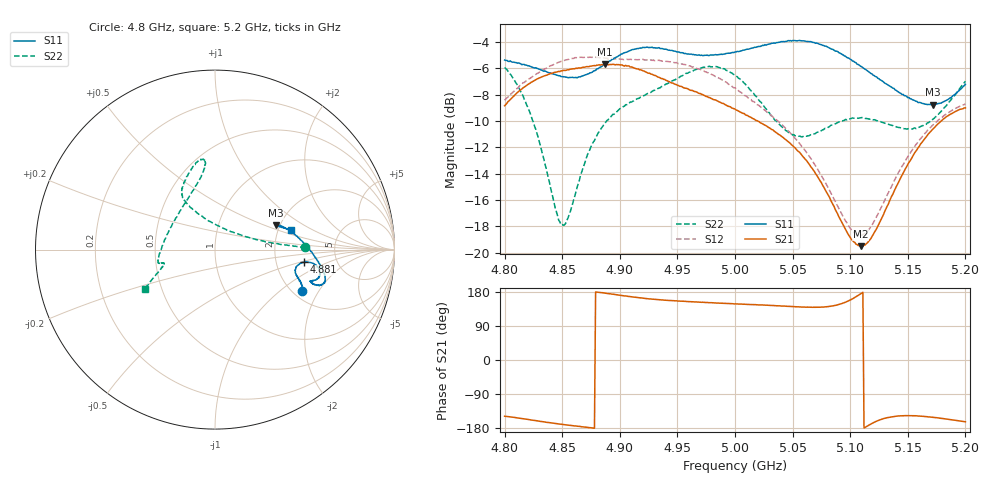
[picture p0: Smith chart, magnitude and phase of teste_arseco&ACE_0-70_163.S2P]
! Network Analyzer HP8722D
! Hewlett-Packard
! Data name: Linha & Wilkinson
! Saver's name: Rodrigo Anjos
! Comments: Teste da utilização de aquisição
! continua pelo VNA HP8722D
! Time and date: 8/5/2025 14:07
!  Frequency  S11  S21  S12  S22
# HZ  S  MA R 50
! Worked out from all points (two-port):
!   401 points, 4.8 GHz to 5.2 GHz, reference 50 ohm
!   highest |S21| = -5.71 dB at 4.887 GHz (marker M1); lowest = -19.5 dB at 5.109 GHz (marker M2)
!   |S21| within 3 dB of the highest: 4.802 GHz to 4.99 GHz (188.8 MHz wide, 3.86 % of centre)
!   lowest |S11| = -8.8 dB at 5.172 GHz (marker M3), VSWR 2.15, Z = 95 + j29.8 ohm
!   |S11| at or under -10 dB: nowhere
!   |S22| runs from -17.9 to -5.9 dB; largest |S21 - S12| = 1.1
!   S11 on the Smith chart (normalised r, x): 4.8 GHz: 2.23, -1.46; 4.881 GHz: 2.88, -0.53; 5.2 GHz: 2.33, +0.64
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4.8e9  0.5379 -25.5  0.3608 -148.4  0.3787 11.0  0.5041 1.3
4.812e9  0.5247 -22.4  0.408 -153.2  0.4238 9.3  0.4244 2.8
4.823e9  0.5077 -20.7  0.4429 -158.3  0.4615 7.7  0.3302 6.1
4.849e9  0.4657 -16.1  0.4895 -169.5  0.5316 3.4  0.1275 58.1
4.855e9  0.4609 -14.3  0.4942 -171.9  0.5407 2.5  0.1355 84.7
4.867e9  0.4679 -11.0  0.5032 -176.2  0.5511 0.9  0.2027 112.8
4.881e9  0.4985 -8.0  0.5144 178.9  0.5511 -0.3  0.2836 120.6
4.887e9  0.5198 -7.7  0.5185 176.5  0.5469 -0.4  0.3089 121.4
4.911e9  0.5895 -10.5  0.5049 166.6  0.5406 0.1  0.3748 119.7
4.934e9  0.5996 -15.4  0.4626 158.9  0.5377 -1.1  0.4213 113.3
4.975e9  0.5604 -18.4  0.3913 151.6  0.485 -4.6  0.506 99.4
5e9  0.5772 -19.2  0.3506 148.1  0.4226 -5.0  0.4721 97.0
5.018e9  0.6009 -19.2  0.3179 146.0  0.3688 -2.3  0.3927 103.6
5.046e9  0.6376 -17.0  0.2641 141.7  0.2906 3.8  0.2868 134.1
5.067e9  0.6279 -13.3  0.2091 139.1  0.224 9.5  0.2803 164.5
5.098e9  0.5483 -2.7  0.1181 155.4  0.1279 36.5  0.3221 -170.6
5.109e9  0.5097 2.1  0.106 174.4  0.1167 57.8  0.3249 -167.3
5.118e9  0.4784 6.5  0.1134 -168.7  0.1257 75.7  0.3215 -166.2
5.134e9  0.4296 14.3  0.1566 -150.9  0.1719 94.8  0.3063 -165.8
5.155e9  0.3794 20.9  0.2354 -147.2  0.2497 102.1  0.2964 -164.1
5.172e9  0.3646 21.9  0.2951 -151.4  0.3057 102.9  0.3217 -160.2
5.2e9  0.4352 14.8  0.3542 -163.0  0.3674 103.3  0.4471 -150.5
